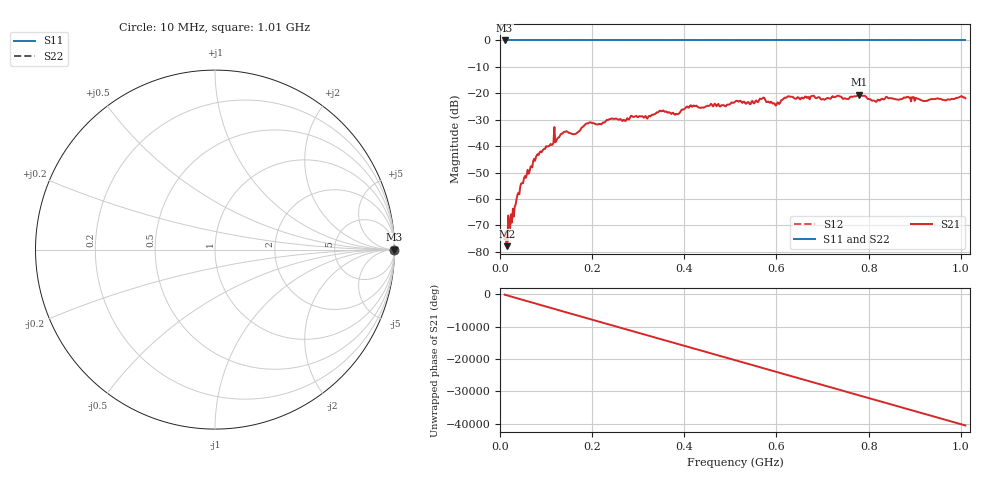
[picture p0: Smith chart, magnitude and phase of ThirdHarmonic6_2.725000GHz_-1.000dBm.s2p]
! 8/17/2025 6:40:11 AM
! C:\ANRITSUVNA\TEMP\TEMP.S2P
! CHANNEL.1
! TR.MEASUREMENT
! RAW.DATA
! RF.CORRECTION.OFF
! AVERAGING.OFF
! IF.BANDWIDTH: 5KHZ
! SWEEPTYPE:  FREQ.SWEEP(Linear)
! Reference Plane Port Info
! PORT:  PORT1  PORT2
! DISTANCE:  0  m  0  m
! TIME:  0  s  0  s
! PHASE.OFFSET:  0  deg.  0  deg.
! LOSS:  0  dB  0  dB
! REF.LOSS:  0  dB  0  dB
! REF.FREQ:  0  Hz  0  Hz
! Power Info
! POWER:  -20  dBm  -20  dBm
! EFF.POWER:  -20  dBm  -20  dBm
! SOURCE.ATTEN:  0  dB  0  dB
! TEST.ATTEN:  0  dB  0  dB
# GHZ S RI R 50.0
! FREQ.GHZ  S11RE  S11IM  S21RE  S21IM  S12RE  S12IM  S22RE  S22IM
!; PortSelection: Port_12
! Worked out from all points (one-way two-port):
!   501 points, 10 MHz to 1.01 GHz, reference 50 ohm
!   highest |S21| = -20.54 dB at 780 MHz (marker M1); lowest = -77.8 dB at 16 MHz (marker M2)
!   lowest |S11| = 0.0 dB at 10 MHz (marker M3)
!   |S11| at or under -10 dB: nowhere
!   |S22| runs from 0.0 to 0.0 dB; largest |S21 - S12| = 1.1
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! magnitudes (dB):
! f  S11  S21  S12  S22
! 10 MHz  0.0  -75.2  0.0  0.0
! 16 MHz  0.0  -77.8  0.0  0.0
! 48 MHz  0.0  -54.1  0.0  0.0
! 78 MHz  0.0  -44.1  0.0  0.0
! 136 MHz  0.0  -35.2  0.0  0.0
! 162 MHz  0.0  -35.5  0.0  0.0
! 178 MHz  0.0  -32.9  0.0  0.0
! 192 MHz  0.0  -31.3  0.0  0.0
! 322 MHz  0.0  -28.8  0.0  0.0
! 344 MHz  0.0  -27.1  0.0  0.0
! 384 MHz  0.0  -27.8  0.0  0.0
! 410 MHz  0.0  -25.4  0.0  0.0
! 510 MHz  0.0  -23.2  0.0  0.0
! 570 MHz  0.0  -21.9  0.0  0.0
! 602 MHz  0.0  -23.5  0.0  0.0
! 626 MHz  0.0  -21.1  0.0  0.0
! 678 MHz  0.0  -21.0  0.0  0.0
! 702 MHz  0.0  -22.2  0.0  0.0
! 780 MHz  0.0  -20.5  0.0  0.0
! 814 MHz  0.0  -23.0  0.0  0.0
! 844 MHz  0.0  -21.9  0.0  0.0
! 1.01 GHz  0.0  -21.8  0.0  0.0
